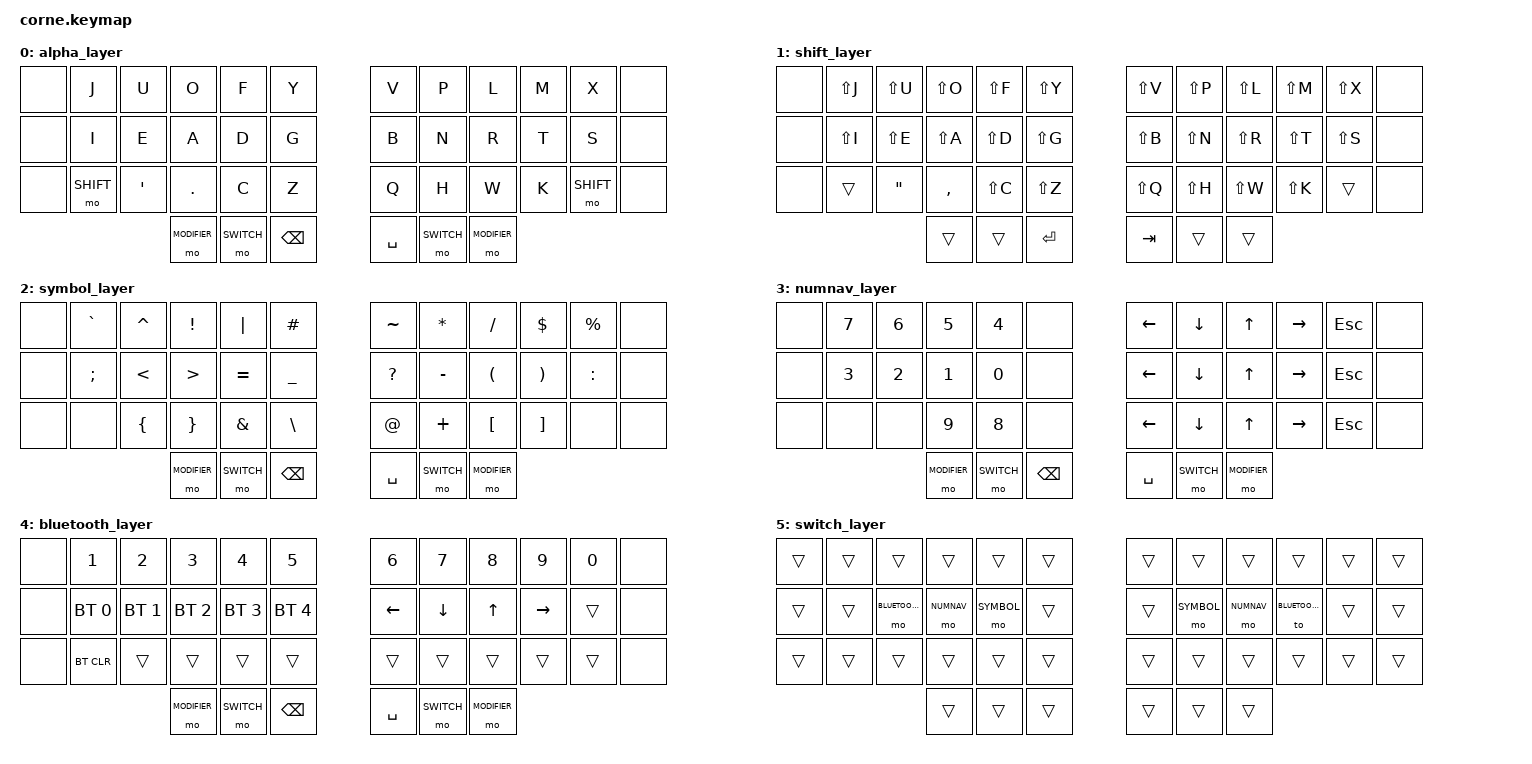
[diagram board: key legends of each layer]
/*
 * Copyright (c) 2020 The ZMK Contributors
 *
 * SPDX-License-Identifier: MIT
 */

#include <behaviors.dtsi>
#include <dt-bindings/zmk/keys.h>
#include <dt-bindings/zmk/bt.h>

#define ALPHA 0
#define SHIFT 1
#define SYMBOL 2
#define NUMNAV 3
#define BLUETOOTH 4
#define SWITCH 5
#define MODIFIER 6

/ {
        keymap {
                compatible = "zmk,keymap";

                alpha_layer {
// -----------------------------------------------------------------------------------------
// |  TAB |  Q  |  W  |  E  |  R  |  T  |   |  Y  |  U   |  I  |  O  |  P  | BKSP |
// | CTRL |  A  |  S  |  D  |  F  |  G  |   |  H  |  J   |  K  |  L  |  ;  |  '   |
// | SHFT |  Z  |  X  |  C  |  V  |  B  |   |  N  |  M   |  ,  |  .  |  /  | ESC  |
//                    | GUI | LWR | SPC |   | ENT | RSE  | ALT |
                        bindings = <
   &none &kp J     &kp U    &kp O   &kp F &kp Y   &kp V  &kp P  &kp L  &kp M  &kp X     &none
   &none &kp I     &kp E    &kp A   &kp D &kp G   &kp B  &kp N  &kp R  &kp T  &kp S     &none
   &none &mo SHIFT &kp APOS &kp DOT &kp C &kp Z   &kp Q  &kp H  &kp W  &kp K  &mo SHIFT &none
                       &mo MODIFIER &mo SWITCH &kp BSPC   &kp SPACE &mo SWITCH &mo MODIFIER
                        >;
                };

                shift_layer {
// -----------------------------------------------------------------------------------------
// |  TAB |  Q  |  W  |  E  |  R  |  T  |   |  Y  |  U   |  I  |  O  |  P  | BKSP |
// | CTRL |  A  |  S  |  D  |  F  |  G  |   |  H  |  J   |  K  |  L  |  ;  |  '   |
// | SHFT |  Z  |  X  |  C  |  V  |  B  |   |  N  |  M   |  ,  |  .  |  /  | ESC  |
//                    | GUI | LWR | SPC |   | ENT | RSE  | ALT |
                        bindings = <
   &none &kp LS(J)     &kp LS(U)    &kp LS(O)   &kp LS(F) &kp LS(Y)   &kp LS(V)  &kp LS(P)  &kp LS(L)  &kp LS(M)  &kp LS(X)     &none
   &none &kp LS(I)     &kp LS(E)    &kp LS(A)   &kp LS(D) &kp LS(G)   &kp LS(B)  &kp LS(N)  &kp LS(R)  &kp LS(T)  &kp LS(S)     &none
   &none &trans        &kp DQT      &kp COMMA   &kp LS(C) &kp LS(Z)   &kp LS(Q)  &kp LS(H)  &kp LS(W)  &kp LS(K)  &trans        &none
                       &trans &trans &kp ENTER   &kp TAB &trans &trans
                        >;
                };

                symbol_layer {
// -----------------------------------------------------------------------------------------
// |  TAB |  !  |  @  |  #  |  $  |  %  |   |  ^  |  &  |  *  |  (  |  )  | BKSP |
// | CTRL |     |     |     |     |     |   |  -  |  =  |  [  |  ]  |  \  |  `   |
// | SHFT |     |     |     |     |     |   |  _  |  +  |  {  |  }  | "|" |  ~   |
//                    | GUI |     | SPC |   | ENT |     | ALT |
                        bindings = <
   &none &kp GRAVE &kp CARET &kp EXCL &kp PIPE &kp HASH   &kp TILDE &kp ASTRK  &kp FSLH &kp DLLR &kp PRCNT &none
   &none &kp SEMI   &kp LT &kp GT   &kp EQUAL   &kp UNDER      &kp QMARK &kp MINUS &kp LPAR  &kp RPAR &kp COLON &none
   &none &none   &kp LBRC &kp RBRC &kp AMPS &kp BSLH      &kp AT &kp PLUS  &kp LBKT  &kp RBKT &none &none
                             &mo MODIFIER &mo SWITCH &kp BSPC   &kp SPACE &mo SWITCH &mo MODIFIER
                        >;
                };

                numnav_layer {
// -----------------------------------------------------------------------------------------
// |  TAB |  1  |  2  |  3  |  4  |  5  |   |  6  |  7  |  8  |  9  |  0  | BKSP |
// | BTCLR| BT1 | BT2 | BT3 | BT4 | BT5 |   | LFT | DWN |  UP | RGT |     |      |
// | SHFT |     |     |     |     |     |   |     |     |     |     |     |      |
//                    | GUI |     | SPC |   | ENT |     | ALT |
                        bindings = <
   &none &kp N7 &kp N6 &kp N5 &kp N4 &none    &kp LEFT &kp DOWN &kp UP &kp RIGHT &kp ESC &none
   &none &kp N3 &kp N2 &kp N1 &kp N0 &none    &kp LEFT &kp DOWN &kp UP &kp RIGHT &kp ESC &none
   &none &none  &none  &kp N9 &kp N8 &none    &kp LEFT &kp DOWN &kp UP &kp RIGHT &kp ESC &none
                      &mo MODIFIER &mo SWITCH &kp BSPC   &kp SPACE &mo SWITCH &mo MODIFIER
                        >;
                };

                bluetooth_layer {
// -----------------------------------------------------------------------------------------
// |  TAB |  1  |  2  |  3  |  4  |  5  |   |  6  |  7  |  8  |  9  |  0  | BKSP |
// | BTCLR| BT1 | BT2 | BT3 | BT4 | BT5 |   | LFT | DWN |  UP | RGT |     |      |
// | SHFT |     |     |     |     |     |   |     |     |     |     |     |      |
//                    | GUI |     | SPC |   | ENT |     | ALT |
                        bindings = <
   &none &kp N1       &kp N2       &kp N3       &kp N4       &kp N5         &kp N6   &kp N7   &kp N8 &kp N9    &kp N0 &none
   &none &bt BT_SEL 0 &bt BT_SEL 1 &bt BT_SEL 2 &bt BT_SEL 3 &bt BT_SEL 4   &kp LEFT &kp DOWN &kp UP &kp RIGHT &trans &none
   &none &bt BT_CLR   &trans       &trans       &trans       &trans         &trans   &trans   &trans &trans    &trans &none
                                    &mo MODIFIER &mo SWITCH &kp BSPC   &kp SPACE &mo SWITCH &mo MODIFIER
                        >;
                };

                switch_layer {
// -----------------------------------------------------------------------------------------
// |  TAB |  1  |  2  |  3  |  4  |  5  |   |  6  |  7  |  8  |  9  |  0  | BKSP |
// | BTCLR| BT1 | BT2 | BT3 | BT4 | BT5 |   | LFT | DWN |  UP | RGT |     |      |
// | SHFT |     |     |     |     |     |   |     |     |     |     |     |      |
//                    | GUI |     | SPC |   | ENT |     | ALT |
                        bindings = <
   &trans &trans &trans &trans &trans &trans  &trans &trans &trans &trans &trans &trans
   &trans &trans &mo BLUETOOTH &mo NUMNAV &mo SYMBOL &trans &trans &mo SYMBOL &mo NUMNAV &to BLUETOOTH &trans &trans
   &trans &trans &trans &trans &trans &trans  &trans &trans &trans &trans &trans &trans
                        &trans &trans &trans  &trans &trans &trans
                        >;
                };
};

                modifier_layer {
// -----------------------------------------------------------------------------------------
// |  TAB |  1  |  2  |  3  |  4  |  5  |   |  6  |  7  |  8  |  9  |  0  | BKSP |
// | BTCLR| BT1 | BT2 | BT3 | BT4 | BT5 |   | LFT | DWN |  UP | RGT |     |      |
// | SHFT |     |     |     |     |     |   |     |     |     |     |     |      |
//                    | GUI |     | SPC |   | ENT |     | ALT |
                        bindings = <
   &trans &trans &trans &trans &trans &trans  &trans &trans &trans &trans &trans &trans
   &trans &kp LSHFT &kp LALT  &kp LCTRL &kp LCMD  &trans  &trans &kp RCMD  &kp RCTRL &kp RALT  &kp RSHFT &trans
   &trans &trans &trans &trans &trans &trans  &trans &trans &trans &trans &trans &trans
                        &mo MODIFIER &mo SWITCH &kp BSPC   &kp SPACE &mo SWITCH &mo MODIFIER
                        >;
                };
        };
